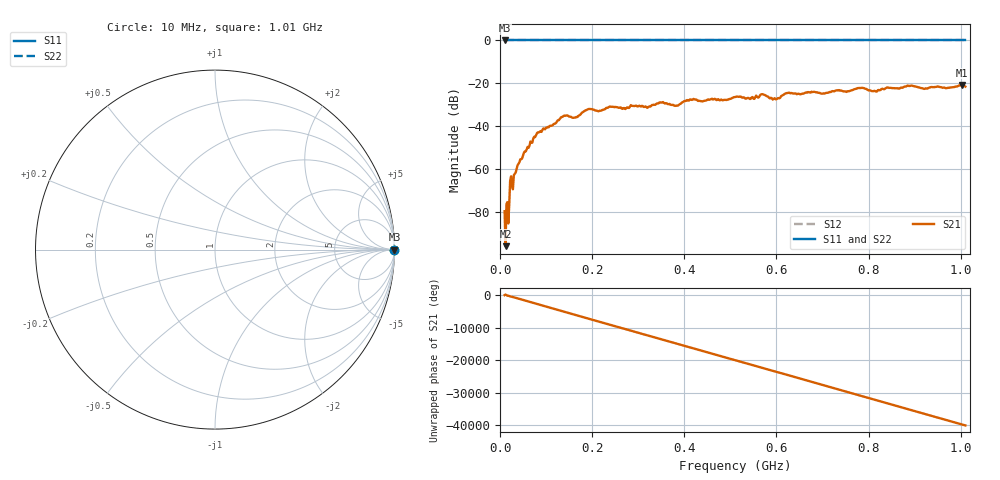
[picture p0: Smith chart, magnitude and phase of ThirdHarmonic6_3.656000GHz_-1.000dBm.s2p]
! 8/17/2025 12:19:20 PM
! C:\ANRITSUVNA\TEMP\TEMP.S2P
! CHANNEL.1
! TR.MEASUREMENT
! RAW.DATA
! RF.CORRECTION.OFF
! AVERAGING.OFF
! IF.BANDWIDTH: 5KHZ
! SWEEPTYPE:  FREQ.SWEEP(Linear)
! Reference Plane Port Info
! PORT:  PORT1  PORT2
! DISTANCE:  0  m  0  m
! TIME:  0  s  0  s
! PHASE.OFFSET:  0  deg.  0  deg.
! LOSS:  0  dB  0  dB
! REF.LOSS:  0  dB  0  dB
! REF.FREQ:  0  Hz  0  Hz
! Power Info
! POWER:  -20  dBm  -20  dBm
! EFF.POWER:  -20  dBm  -20  dBm
! SOURCE.ATTEN:  0  dB  0  dB
! TEST.ATTEN:  0  dB  0  dB
# GHZ S RI R 50.0
! FREQ.GHZ  S11RE  S11IM  S21RE  S21IM  S12RE  S12IM  S22RE  S22IM
!; PortSelection: Port_12
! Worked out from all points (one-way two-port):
!   501 points, 10 MHz to 1.01 GHz, reference 50 ohm
!   highest |S21| = -20.79 dB at 1.002 GHz (marker M1); lowest = -96.1 dB at 12 MHz (marker M2)
!   lowest |S11| = 0.0 dB at 10 MHz (marker M3)
!   |S11| at or under -10 dB: nowhere
!   |S22| runs from 0.0 to 0.0 dB; largest |S21 - S12| = 1.1
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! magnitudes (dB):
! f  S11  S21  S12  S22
! 10 MHz  0.0  -79.8  0.0  0.0
! 12 MHz  0.0  -96.1  0.0  0.0
! 16 MHz  0.0  -75.6  0.0  0.0
! 26 MHz  0.0  -67.6  0.0  0.0
! 40 MHz  0.0  -57.7  0.0  0.0
! 78 MHz  0.0  -44.4  0.0  0.0
! 136 MHz  0.0  -35.7  0.0  0.0
! 164 MHz  0.0  -36.0  0.0  0.0
! 178 MHz  0.0  -33.7  0.0  0.0
! 194 MHz  0.0  -32.0  0.0  0.0
! 322 MHz  0.0  -31.0  0.0  0.0
! 344 MHz  0.0  -29.4  0.0  0.0
! 382 MHz  0.0  -30.5  0.0  0.0
! 416 MHz  0.0  -27.8  0.0  0.0
! 510 MHz  0.0  -26.5  0.0  0.0
! 570 MHz  0.0  -25.1  0.0  0.0
! 596 MHz  0.0  -27.0  0.0  0.0
! 624 MHz  0.0  -24.6  0.0  0.0
! 678 MHz  0.0  -24.1  0.0  0.0
! 844 MHz  0.0  -22.1  0.0  0.0
! 1.002 GHz  0.0  -20.8  0.0  0.0
! 1.01 GHz  0.0  -21.6  0.0  0.0
